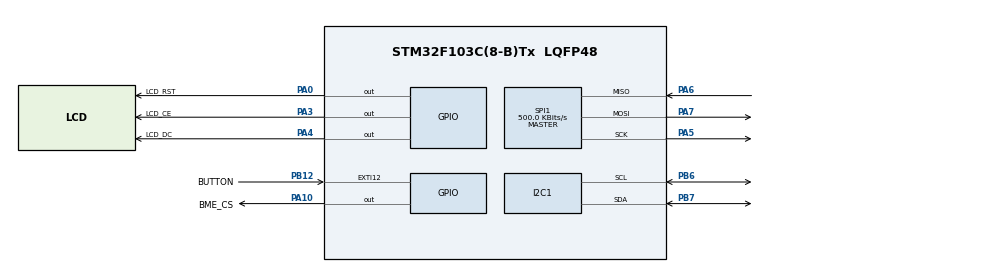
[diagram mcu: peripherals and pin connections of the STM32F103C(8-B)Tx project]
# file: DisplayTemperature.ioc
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Mcu.Family=STM32F1
Mcu.Name=STM32F103C(8-B)Tx
Mcu.Package=LQFP48
NVIC.EXTI15_10_IRQn=true\:0\:0\:false\:false\:true\:true\:true\:true
NVIC.PriorityGroup=NVIC_PRIORITYGROUP_4
NVIC.TIM3_IRQn=true\:0\:0\:false\:false\:true\:true\:true\:true
PA0-WKUP.GPIO_Label=LCD_RST
PA0-WKUP.Signal=GPIO_Output
PA10.GPIO_Label=BME_CS
PA10.Signal=GPIO_Output
PA13.Mode=Serial_Wire
PA13.Signal=SYS_JTMS-SWDIO
PA14.Mode=Serial_Wire
PA14.Signal=SYS_JTCK-SWCLK
PA3.GPIO_Label=LCD_CE
PA3.Signal=GPIO_Output
PA4.GPIO_Label=LCD_DC
PA4.Signal=GPIO_Output
PA5.Mode=Full_Duplex_Master
PA5.Signal=SPI1_SCK
PA6.Mode=Full_Duplex_Master
PA6.Signal=SPI1_MISO
PA7.Mode=Full_Duplex_Master
PA7.Signal=SPI1_MOSI
PB12.GPIO_Label=BUTTON
PB12.GPIO_ModeDefaultEXTI=GPIO_MODE_IT_RISING_FALLING
PB12.Signal=GPXTI12
PB6.Mode=I2C
PB6.Signal=I2C1_SCL
PB7.Mode=I2C
PB7.Signal=I2C1_SDA
ProjectManager.HeapSize=0x200
ProjectManager.StackSize=0x400
ProjectManager.TargetToolchain=STM32CubeIDE
RCC.APB1Freq_Value=8000000
RCC.APB2Freq_Value=8000000
SPI1.BaudRatePrescaler=SPI_BAUDRATEPRESCALER_16
SPI1.CalculateBaudRate=500.0 KBits/s
SPI1.Direction=SPI_DIRECTION_2LINES
SPI1.Mode=SPI_MODE_MASTER
SPI1.VirtualType=VM_MASTER
TIM3.Period=1000
TIM3.Prescaler=7999
VP_TIM3_VS_ClockSourceINT.Mode=Internal
board=custom

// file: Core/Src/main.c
/* USER CODE BEGIN Header */
/**
 ******************************************************************************
 * @file           : main.c
 * @brief          : Main program body
 ******************************************************************************
 * @attention
 *
 * Copyright (c) 2022 STMicroelectronics.
 * All rights reserved.
 *
 * This software is licensed under terms that can be found in the LICENSE file
 * in the root directory of this software component.
 * If no LICENSE file comes with this software, it is provided AS-IS.
 *
 ******************************************************************************
 */
/* USER CODE END Header */
#include "main.h"

/* USER CODE BEGIN Includes */
#include "user_5110.h"
#include <stdlib.h>
#include "BMP180.h"
/* USER CODE END Includes */

 I2C_HandleTypeDef hi2c1;

SPI_HandleTypeDef hspi1;

TIM_HandleTypeDef htim3;

/* USER CODE BEGIN PV */
char buffer [50];
char temperatura[3];
float temp =0;
float aux;

int contbuffer = 0;
int buffer_mediatemp[50];
float media = 0;

int temp_final;
int contador;
unsigned char byte;
unsigned char bytes[10];
char cmd[18];
uint16_t    dig_T1;
int16_t     dig_T2, dig_T3;

/* USER CODE END PV */

void SystemClock_Config(void);
static void MX_GPIO_Init(void);
static void MX_SPI1_Init(void);
static void MX_TIM3_Init(void);
static void MX_I2C1_Init(void);
/* USER CODE BEGIN PFP */
//int Read_Temperature(void);
void Init_Temp_Sensor(void);
/* USER CODE END PFP */

int main(void)
{

  /* MCU Configuration--------------------------------------------------------*/

  /* Reset of all peripherals, Initializes the Flash interface and the Systick. */
  HAL_Init();

  /* Configure the system clock */
  SystemClock_Config();

  /* Initialize all configured peripherals */
  MX_GPIO_Init();
  MX_SPI1_Init();
  MX_TIM3_Init();
  MX_I2C1_Init();
  /* USER CODE BEGIN 2 */
	LCD_Init();
	LCD_Write_String(0, 0, "Temperatura");

	HAL_GPIO_WritePin(GPIOA, BME_CS_Pin, GPIO_PIN_RESET);
	byte = 0xD0;
	HAL_SPI_Transmit(&hspi1, &byte, 0x01, 1000);
	HAL_SPI_Receive(&hspi1, &byte, 0x01, 1000);
	HAL_GPIO_WritePin(GPIOA, BME_CS_Pin, GPIO_PIN_SET);

//	sprintf(buffer, "Id Lido %x ", byte);
//	LCD_Write_String(0,1, buffer);

	HAL_GPIO_WritePin(GPIOA, BME_CS_Pin, GPIO_PIN_RESET);
	bytes[0] = (0xF2 & 0x7F);
	bytes[1] = 0x04;
	HAL_SPI_Transmit(&hspi1, bytes, 0x02, 1000);
	HAL_GPIO_WritePin(GPIOA, BME_CS_Pin, GPIO_PIN_SET);

	HAL_GPIO_WritePin(GPIOA, BME_CS_Pin, GPIO_PIN_RESET);
	bytes[0] = (0xF4 & 0x7F);
	bytes[1] = ((4<<5)|(4<<2)|3);
	HAL_SPI_Transmit(&hspi1, bytes, 0x02, 1000);
	HAL_GPIO_WritePin(GPIOA, BME_CS_Pin, GPIO_PIN_SET);

	HAL_GPIO_WritePin(GPIOA, BME_CS_Pin, GPIO_PIN_RESET);
	bytes[0] = (0xF5 & 0x7F);
	bytes[1] = 0xa0;
	HAL_SPI_Transmit(&hspi1, bytes, 0x02, 1000);
	HAL_GPIO_WritePin(GPIOA, BME_CS_Pin, GPIO_PIN_SET);

	HAL_GPIO_WritePin(GPIOA, BME_CS_Pin, GPIO_PIN_RESET);
	byte = 0x88;
	HAL_SPI_Transmit(&hspi1, &byte, 0x01, 1000);
	HAL_SPI_Receive(&hspi1, cmd, 0x06, 1000);
	HAL_GPIO_WritePin(GPIOA, BME_CS_Pin, GPIO_PIN_SET);

	dig_T1 = (cmd[1] << 8) | cmd[0];
	dig_T2 = (cmd[3] << 8) | cmd[2];
	dig_T3 = (cmd[5] << 8) | cmd[4];
  /* USER CODE END 2 */

  /* Infinite loop */
  /* USER CODE BEGIN WHILE */
	InitSensorTemperatureReading(&hi2c1);
	read_calliberation_data();
	HAL_TIM_Base_Start_IT(&htim3);
	while (1)
	{
    /* USER CODE END WHILE */

    /* USER CODE BEGIN 3 */

//		HAL_GPIO_WritePin(GPIOA, BME_CS_Pin, GPIO_PIN_RESET);
//		byte = 0xFA;
//		HAL_SPI_Transmit(&hspi1, &byte, 0x01, 1000);
//
//		HAL_SPI_Receive(&hspi1, temperatura, 0x03, 1000);
//
//		HAL_GPIO_WritePin(GPIOA, BME_CS_Pin, GPIO_PIN_SET);

		temp = ReadTemperature();
		aux=temp;
//		temp_final = (int)(temperatura[0]*4096 + temperatura[1]*16 + temperatura[2]/16);

//		temp_final = (temperatura[0] << 12) | (temperatura[1] << 4) | (temperatura[2] >> 4);

//		temp =
//				(((((temp_final >> 3) - (dig_T1 << 1))) * dig_T2) >> 11) +
//				((((((temp_final >> 4) - dig_T1) * ((temp_final >> 4) - dig_T1)) >> 12) * dig_T3) >> 14);
//
//		temp = (temp * 5 + 128) >> 8;

		HAL_Delay(4000);
	}
  /* USER CODE END 3 */
}

void SystemClock_Config(void)
{
  RCC_OscInitTypeDef RCC_OscInitStruct = {0};
  RCC_ClkInitTypeDef RCC_ClkInitStruct = {0};

  /** Initializes the RCC Oscillators according to the specified parameters
  * in the RCC_OscInitTypeDef structure.
  */
  RCC_OscInitStruct.OscillatorType = RCC_OSCILLATORTYPE_HSI;
  RCC_OscInitStruct.HSIState = RCC_HSI_ON;
  RCC_OscInitStruct.HSICalibrationValue = RCC_HSICALIBRATION_DEFAULT;
  RCC_OscInitStruct.PLL.PLLState = RCC_PLL_NONE;
  if (HAL_RCC_OscConfig(&RCC_OscInitStruct) != HAL_OK)
  {
    Error_Handler();
  }

  /** Initializes the CPU, AHB and APB buses clocks
  */
  RCC_ClkInitStruct.ClockType = RCC_CLOCKTYPE_HCLK|RCC_CLOCKTYPE_SYSCLK
                              |RCC_CLOCKTYPE_PCLK1|RCC_CLOCKTYPE_PCLK2;
  RCC_ClkInitStruct.SYSCLKSource = RCC_SYSCLKSOURCE_HSI;
  RCC_ClkInitStruct.AHBCLKDivider = RCC_SYSCLK_DIV1;
  RCC_ClkInitStruct.APB1CLKDivider = RCC_HCLK_DIV1;
  RCC_ClkInitStruct.APB2CLKDivider = RCC_HCLK_DIV1;

  if (HAL_RCC_ClockConfig(&RCC_ClkInitStruct, FLASH_LATENCY_0) != HAL_OK)
  {
    Error_Handler();
  }
}

static void MX_I2C1_Init(void)
{

  hi2c1.Instance = I2C1;
  hi2c1.Init.ClockSpeed = 100000;
  hi2c1.Init.DutyCycle = I2C_DUTYCYCLE_2;
  hi2c1.Init.OwnAddress1 = 0;
  hi2c1.Init.AddressingMode = I2C_ADDRESSINGMODE_7BIT;
  hi2c1.Init.DualAddressMode = I2C_DUALADDRESS_DISABLE;
  hi2c1.Init.OwnAddress2 = 0;
  hi2c1.Init.GeneralCallMode = I2C_GENERALCALL_DISABLE;
  hi2c1.Init.NoStretchMode = I2C_NOSTRETCH_DISABLE;
  if (HAL_I2C_Init(&hi2c1) != HAL_OK)
  {
    Error_Handler();
  }

}

static void MX_SPI1_Init(void)
{

  /* SPI1 parameter configuration*/
  hspi1.Instance = SPI1;
  hspi1.Init.Mode = SPI_MODE_MASTER;
  hspi1.Init.Direction = SPI_DIRECTION_2LINES;
  hspi1.Init.DataSize = SPI_DATASIZE_8BIT;
  hspi1.Init.CLKPolarity = SPI_POLARITY_LOW;
  hspi1.Init.CLKPhase = SPI_PHASE_1EDGE;
  hspi1.Init.NSS = SPI_NSS_SOFT;
  hspi1.Init.BaudRatePrescaler = SPI_BAUDRATEPRESCALER_16;
  hspi1.Init.FirstBit = SPI_FIRSTBIT_MSB;
  hspi1.Init.TIMode = SPI_TIMODE_DISABLE;
  hspi1.Init.CRCCalculation = SPI_CRCCALCULATION_DISABLE;
  hspi1.Init.CRCPolynomial = 10;
  if (HAL_SPI_Init(&hspi1) != HAL_OK)
  {
    Error_Handler();
  }

}

static void MX_TIM3_Init(void)
{

  TIM_ClockConfigTypeDef sClockSourceConfig = {0};
  TIM_MasterConfigTypeDef sMasterConfig = {0};

  htim3.Instance = TIM3;
  htim3.Init.Prescaler = 7999;
  htim3.Init.CounterMode = TIM_COUNTERMODE_UP;
  htim3.Init.Period = 1000;
  htim3.Init.ClockDivision = TIM_CLOCKDIVISION_DIV1;
  htim3.Init.AutoReloadPreload = TIM_AUTORELOAD_PRELOAD_DISABLE;
  if (HAL_TIM_Base_Init(&htim3) != HAL_OK)
  {
    Error_Handler();
  }
  sClockSourceConfig.ClockSource = TIM_CLOCKSOURCE_INTERNAL;
  if (HAL_TIM_ConfigClockSource(&htim3, &sClockSourceConfig) != HAL_OK)
  {
    Error_Handler();
  }
  sMasterConfig.MasterOutputTrigger = TIM_TRGO_RESET;
  sMasterConfig.MasterSlaveMode = TIM_MASTERSLAVEMODE_DISABLE;
  if (HAL_TIMEx_MasterConfigSynchronization(&htim3, &sMasterConfig) != HAL_OK)
  {
    Error_Handler();
  }

}

static void MX_GPIO_Init(void)
{
  GPIO_InitTypeDef GPIO_InitStruct = {0};

  /* GPIO Ports Clock Enable */
  __HAL_RCC_GPIOA_CLK_ENABLE();
  __HAL_RCC_GPIOB_CLK_ENABLE();

  /*Configure GPIO pin Output Level */
  HAL_GPIO_WritePin(GPIOA, LCD_RST_Pin|LCD_CE_Pin|LCD_DC_Pin|BME_CS_Pin, GPIO_PIN_RESET);

  /*Configure GPIO pins : LCD_RST_Pin LCD_CE_Pin LCD_DC_Pin BME_CS_Pin */
  GPIO_InitStruct.Pin = LCD_RST_Pin|LCD_CE_Pin|LCD_DC_Pin|BME_CS_Pin;
  GPIO_InitStruct.Mode = GPIO_MODE_OUTPUT_PP;
  GPIO_InitStruct.Pull = GPIO_NOPULL;
  GPIO_InitStruct.Speed = GPIO_SPEED_FREQ_LOW;
  HAL_GPIO_Init(GPIOA, &GPIO_InitStruct);

  /*Configure GPIO pin : BUTTON_Pin */
  GPIO_InitStruct.Pin = BUTTON_Pin;
  GPIO_InitStruct.Mode = GPIO_MODE_IT_RISING_FALLING;
  GPIO_InitStruct.Pull = GPIO_NOPULL;
  HAL_GPIO_Init(BUTTON_GPIO_Port, &GPIO_InitStruct);

  /* EXTI interrupt init*/
  HAL_NVIC_SetPriority(EXTI15_10_IRQn, 0, 0);
  HAL_NVIC_EnableIRQ(EXTI15_10_IRQn);

}

/* USER CODE BEGIN 4 */

/*int Read_Temperature(void)
{
	int temp;
	char temperatura[3];

	HAL_GPIO_WritePin(GPIOA, BME_CS_Pin, GPIO_PIN_RESET);
	byte = 0xFA;
	HAL_SPI_Transmit(&hspi1, &byte, 0x01, 1000);

	HAL_SPI_Receive(&hspi1, temperatura, 0x03, 1000);

	HAL_GPIO_WritePin(GPIOA, BME_CS_Pin, GPIO_PIN_SET);

	temp = (temperatura[0] << 12) | (temperatura[1] << 4) | (temperatura[2] >> 4);

	return temp;
}*/

//void HAL_TIM_PeriodElapsedCallback(TIM_HandleTypeDef *htim)
//{
//
//	if(contbuffer<50){
//		buffer_mediatemp[contbuffer] = temp;
//		contbuffer++;
//	}
//	else{
//		int i_aux = 0;
//		int loopmedia = 1;
//		while(1){
//			media = media + buffer_mediatemp[i_aux];
//			i_aux++;
//			if(i_aux<50){
//				loopmedia=0;
//			}
//		}
//		media = media/50;
//	}
//	sprintf(buffer, "temp. %.2f ", media);
//	LCD_Write_String(0,2, buffer);
//}

void HAL_TIM_PeriodElapsedCallback(TIM_HandleTypeDef *htim)
{
	sprintf(buffer, "temp. %.2f ", temp);
	LCD_Write_String(0,2, buffer);
}

void HAL_GPIO_EXTI_Callback(uint16_t GPIO_Pin)
{
	if(GPIO_Pin == BUTTON_Pin){
		if(HAL_GPIO_ReadPin(BUTTON_GPIO_Port, BUTTON_Pin) == GPIO_PIN_RESET){
			// Button pressed
			HAL_TIM_Base_Stop_IT(&htim3);
			LCD_Clear();
			LCD_Write_String(0, 0, "Sistemas");
			LCD_Write_String(10, 1, "Embarcados");
			LCD_Write_String(0, 2, "Carolina");
			LCD_Write_String(15, 3, "Kelsch");
			LCD_Write_String(0, 4, "Thiago");
			LCD_Write_String(15, 5, "Franca");
		}else{
			// Button released
			HAL_TIM_Base_Start_IT(&htim3);
			LCD_Clear();
			LCD_Write_String(0, 0, "Temperatura");
		}
	}
}

void Init_Temp_Sensor(void)
{

}
/* USER CODE END 4 */

void Error_Handler(void)
{
	__disable_irq();
	while (1)
	{
	}
}
